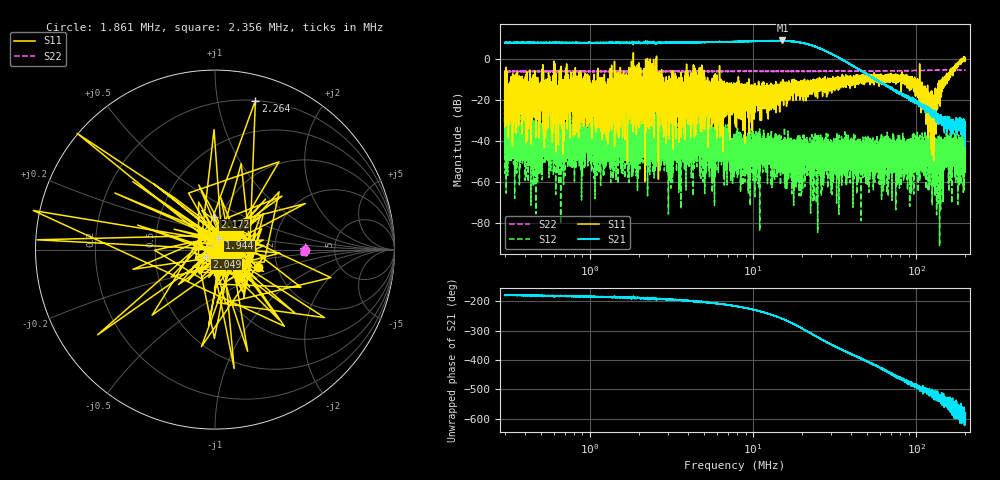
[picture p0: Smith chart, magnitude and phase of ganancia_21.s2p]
# Hz S DB R 50
! CMT, M5065, 19127446, 24.2.4/2
! Date: 11/1/2024 3:21:24 PM
! Data: Format (Calibration Info)
! Freq	S11:dB/Ang(F2)	S21:dB/Ang(F2)	S12:dB/Ang(F2)	S22:dB/Ang(F2)
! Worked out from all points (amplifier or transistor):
!   9000 points, 300 kHz to 200 MHz, reference 50 ohm
!   highest |S21| = 9.1 dB at 15.14 MHz (marker M1)
!   |S21| within 3 dB of that: start of sweep to 23.98 MHz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
!   unconditionally stable (mu >= 1): start of sweep to 1.844 MHz; 2.561 MHz to 187.6 MHz; 187.8 MHz to 190.4 MHz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
!   at 886.8 kHz: K = 25.73, MAG = 9.3 dB, |S12| = -44.9 dB
!   at 7.749 MHz: K = 17.09, MAG = 9.7 dB, |S12| = -41.7 dB
!   at 200 MHz: K = 240.20, MAG = -21.0 dB, |S12| = -44.0 dB
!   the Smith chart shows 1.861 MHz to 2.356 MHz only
!   S11 on the Smith chart (normalised r, x): 1.861 MHz: 1.58, -0.34; 1.944 MHz: 1.04, +0.13; 2.049 MHz: 0.91, -0.07; 2.172 MHz: 0.93, +0.35; 2.264 MHz: 0.20, +1.29; 2.356 MHz: 1.22, -0.40
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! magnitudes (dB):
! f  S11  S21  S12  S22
! 300 kHz  -24.6  8.0  -31.2  -5.9
! 361.7 kHz  -18.2  7.9  -50.0  -6.1
! 886.8 kHz  -15.5  7.9  -44.9  -6.0
! 1.242 MHz  -27.1  8.0  -43.2  -6.0
! 1.861 MHz  -11.7  7.9  -45.0  -6.0
! 1.944 MHz  -23.3  7.9  -46.0  -6.0
! 2.049 MHz  -24.2  8.0  -35.9  -6.0
! 2.172 MHz  -14.8  7.9  -28.4  -6.0
! 2.264 MHz  -1.3  7.5  -47.7  -6.0
! 2.356 MHz  -13.9  7.9  -36.1  -6.1
! 2.621 MHz  -14.3  7.9  -33.9  -6.1
! 3.125 MHz  -20.8  8.0  -40.0  -6.1
! 4.52 MHz  -16.4  8.0  -52.5  -6.1
! 5.618 MHz  -26.8  8.2  -35.1  -5.9
! 7.749 MHz  -20.3  8.4  -41.7  -6.0
! 15.14 MHz  -10.4  9.1  -51.5  -6.0
! 22.91 MHz  -13.0  6.6  -36.8  -6.0
! 67.71 MHz  -9.1  -13.4  -50.5  -5.7
! 100.9 MHz  -10.7  -21.0  -41.5  -5.6
! 124.6 MHz  -15.5  -26.5  -40.6  -5.5
! 149.2 MHz  -9.2  -31.3  -46.2  -5.3
! 200 MHz  -0.5  -32.3  -44.0  -5.4
